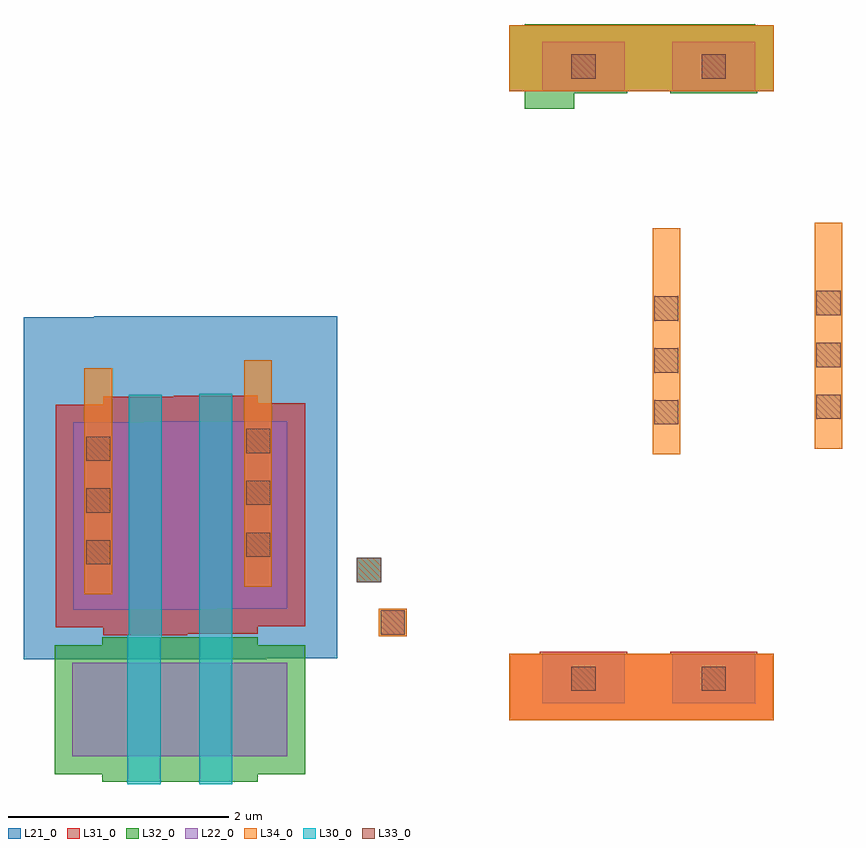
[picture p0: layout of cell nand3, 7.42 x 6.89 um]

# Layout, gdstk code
import gdstk
lib = gdstk.Library(unit=1e-6, precision=1e-09)
def R(c, l, rs):  # rectangles x0, y0, x1, y1
    for r in rs: c.add(gdstk.rectangle(r[:2], r[2:], *l))
def A(c, l, x, y, w, h, nx, ny, dx, dy):  # array of equal rectangles
    R(c, l, [(x+i*dx, y+j*dy, x+i*dx+w, y+j*dy+h) for i in range(nx) for j in range(ny)])
L21_0 = (21, 0)
L22_0 = (22, 0)
L30_0 = (30, 0)
L31_0 = (31, 0)
L32_0 = (32, 0)
L33_0 = (33, 0)
L34_0 = (34, 0)

std_pmos_3v3_170u = lib.new_cell('std_pmos_3v3_170u')
R(std_pmos_3v3_170u, L21_0, [(0,0,2.2,3.1)])
R(std_pmos_3v3_170u, L22_0, [(0.45,0.45,1.75,2.15)])
R(std_pmos_3v3_170u, L30_0, [(0.95,0.2,1.25,2.4)])
R(std_pmos_3v3_170u, L31_0, [(0.72,0.22,1.48,0.29), (0.29,0.29,1.91,2.31), (0.72,2.31,1.48,2.38)])

std_nmos_3v3_085u = lib.new_cell('std_nmos_3v3_085u')
R(std_nmos_3v3_085u, L22_0, [(0.16,0.25,1.46,1.1)])
R(std_nmos_3v3_085u, L30_0, [(0.66,0,0.96,1.35)])
R(std_nmos_3v3_085u, L32_0, [(0.43,0.02,1.19,0.09), (0,0.09,1.62,1.26), (0.43,1.26,1.19,1.33)])

std_power_metal_p = lib.new_cell('std_power_metal_p')
A(std_power_metal_p, L33_0, 0.015, 0.27, 0.22, 0.22, 1, 3, 0, 0.47)
R(std_power_metal_p, L34_0, [(0,0,0.25,2.05)])

std_cnt_drain_source = lib.new_cell('std_cnt_drain_source')
R(std_cnt_drain_source, L22_0, [(0.015,0.015,0.235,0.235)])
R(std_cnt_drain_source, L33_0, [(0.015,0.015,0.235,0.235)])
R(std_cnt_drain_source, L34_0, [(0,0,0.25,0.25)])

std_cnt_gate = lib.new_cell('std_cnt_gate')
R(std_cnt_gate, L30_0, [(0,0,0.22,0.22)])
R(std_cnt_gate, L33_0, [(0,0,0.22,0.22)])
R(std_cnt_gate, L34_0, [(0,0,0.22,0.22)])

std_power_rail_init = lib.new_cell('std_power_rail_init')
R(std_power_rail_init, L22_0, [(0.3,0.15,1.05,0.6), (0.3,5.7,1.05,6.15)])
R(std_power_rail_init, L31_0, [(0,0,2.4,0.6), (0.28,0.13,1.07,0.62)])
R(std_power_rail_init, L32_0, [(0.14,5.54,0.59,5.68), (0.14,5.68,1.07,5.7), (0,5.7,2.4,6.3), (0,5.7,2.4,6.3), (0.14,6.3,1.21,6.31)])
R(std_power_rail_init, L33_0, [(0.565,0.265,0.785,0.485), (0.565,5.815,0.785,6.035)])
R(std_power_rail_init, L34_0, [(0,0,2.4,0.6), (0,5.7,2.4,6.3)])
std_power_rail_init.add(gdstk.Label('VDD', (0.7,5.9), layer=22, texttype=0))
std_power_rail_init.add(gdstk.Label('VSS', (0.7,0.35), layer=22, texttype=0))

std_power_rail_middle_fi = lib.new_cell('std_power_rail_middle_fixed')
R(std_power_rail_middle_fi, L22_0, [(0.43,0.15,1.18,0.6), (0.43,5.7,1.18,6.15)])
R(std_power_rail_middle_fi, L31_0, [(0,0,0.02,0.6), (0.02,0,1.2,0.6), (0.41,0.13,1.2,0.62)])
R(std_power_rail_middle_fi, L32_0, [(0.41,5.68,1.2,5.7), (0,5.7,0.02,6.31), (0.02,5.7,1.18,6.3), (0.02,5.7,1.18,6.3), (0.02,6.3,1.18,6.31)])
R(std_power_rail_middle_fi, L33_0, [(0.695,0.265,0.915,0.485), (0.695,5.815,0.915,6.035)])
R(std_power_rail_middle_fi, L34_0, [(0,0,0.02,0.6), (0.02,0,1.18,0.6), (1.18,0,1.2,0.6), (0,5.7,0.02,6.3), (0.02,5.7,1.18,6.3)])

nand3 = lib.new_cell('nand3')
nand3.add(gdstk.Reference(std_pmos_3v3_170u, (0,0)))
nand3.add(gdstk.Reference(std_pmos_3v3_170u, (0.64,0.01)))
nand3.add(gdstk.Reference(std_nmos_3v3_085u, (0.28,-1.13)))
nand3.add(gdstk.Reference(std_nmos_3v3_085u, (0.93,-1.13)))
nand3.add(gdstk.Reference(std_power_metal_p, (0.55,0.59)))
nand3.add(gdstk.Reference(std_power_metal_p, (2,0.66)))
nand3.add(gdstk.Reference(std_cnt_drain_source, (3.22,0.21)))
nand3.add(gdstk.Reference(std_cnt_gate, (3.02,0.7)))
nand3.add(gdstk.Reference(std_power_rail_init, (4.4,-0.55)))
nand3.add(gdstk.Reference(std_power_rail_middle_fi, (5.45,-0.55)))
nand3.add(gdstk.Reference(std_power_metal_p, (5.7,1.86)))
nand3.add(gdstk.Reference(std_power_metal_p, (7.17,1.91)))

lib.write_gds('nand3.gds')
